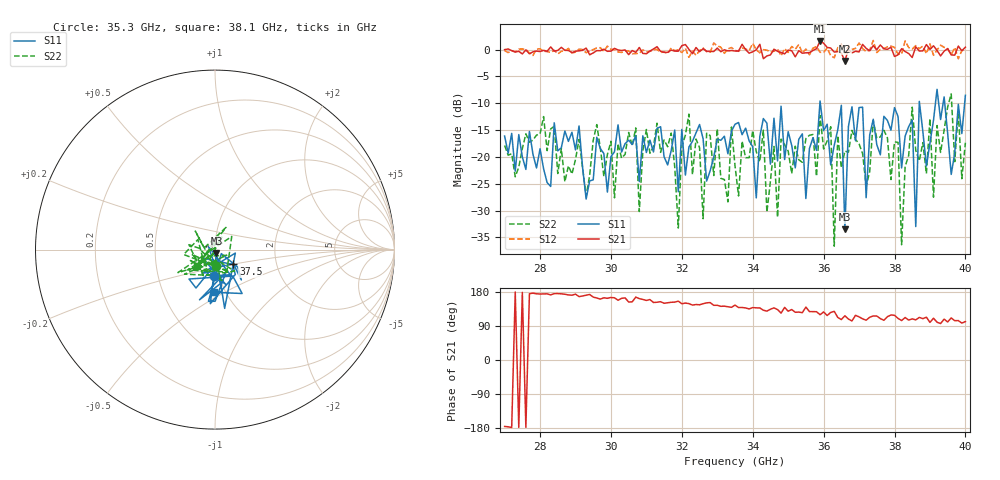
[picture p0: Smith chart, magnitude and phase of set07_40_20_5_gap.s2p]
! Quiescent point : V1=-1.66492E-02 I1=+1.29868E-03 V2=-2.25386E-02 I2=-1.29926E-03
! Pulsed point : V1=-1.69455E-02 I1=+1.30763E-03 V2=-2.27701E-02 I2=-1.32530E-03
! Period : +2.00000E-04
! Input Supply timing : delay=+1.60000E-06 width=+2.20000E-06
! Output Supply timing : delay=+1.70000E-06 width=+2.00000E-06
! VNA timing : delay=+2.40000E-06 width=+1.10000E-06
# Hz S RI R 50
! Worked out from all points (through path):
!   131 points, 27 GHz to 40 GHz, reference 50 ohm
!   highest |S21| = 1.61 dB at 35.9 GHz (marker M1); lowest = -2.1 dB at 36.6 GHz (marker M2)
!   group delay of S21, straight-line fit = 18.2 ps
!   lowest |S11| = -33.5 dB at 36.6 GHz (marker M3), VSWR 1.04, Z = 50.8 - j1.98 ohm
!   |S11| at or under -10 dB: start of sweep to 35.9 GHz; 35.91 GHz to 38.7 GHz (2.791 GHz wide, 7.48 % of centre); 39.42 GHz to 39.98 GHz (562.1 MHz wide, 1.42 % of centre)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
!   |S22| runs from -36.6 to -8.3 dB; largest |S21 - S12| = 0.32
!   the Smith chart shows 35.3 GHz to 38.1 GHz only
!   S11 on the Smith chart (normalised r, x): 35.3 GHz: 0.95, -0.28; 37.5 GHz: 1.21, -0.20; 38.1 GHz: 0.88, -0.44
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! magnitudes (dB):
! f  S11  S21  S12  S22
! 27 GHz  -16.1  0.0  -0.2  -17.9
! 29.2 GHz  -22.0  -0.1  0.0  -22.0
! 31.4 GHz  -14.4  -0.3  -0.5  -19.2
! 31.9 GHz  -26.5  -0.3  -0.1  -33.3
! 33.5 GHz  -13.9  -0.3  -0.1  -21.6
! 35.3 GHz  -16.7  -0.2  1.0  -20.5
! 35.7 GHz  -16.4  -0.2  0.3  -15.8
! 35.9 GHz  -9.6  1.6  -0.5  -12.3
! 36.2 GHz  -21.5  0.3  -1.2  -14.4
! 36.3 GHz  -17.8  -0.5  -1.5  -36.6
! 36.5 GHz  -10.4  -0.7  1.0  -22.0
! 36.6 GHz  -33.5  -2.1  -0.7  -18.9
! 36.8 GHz  -10.7  -0.6  0.0  -15.1
! 37.5 GHz  -17.7  0.0  -0.6  -16.5
! 37.9 GHz  -15.0  0.4  0.7  -24.2
! 38.1 GHz  -12.5  -1.0  -0.9  -17.3
! 38.2 GHz  -22.1  0.2  -0.9  -36.4
! 38.5 GHz  -13.1  -1.5  0.1  -10.7
! 38.6 GHz  -33.0  0.5  0.7  -18.8
! 38.7 GHz  -9.6  -0.3  0.2  -20.7
! 39.6 GHz  -23.3  -1.0  -0.9  -8.3
! 40 GHz  -8.5  0.4  0.2  -17.4
